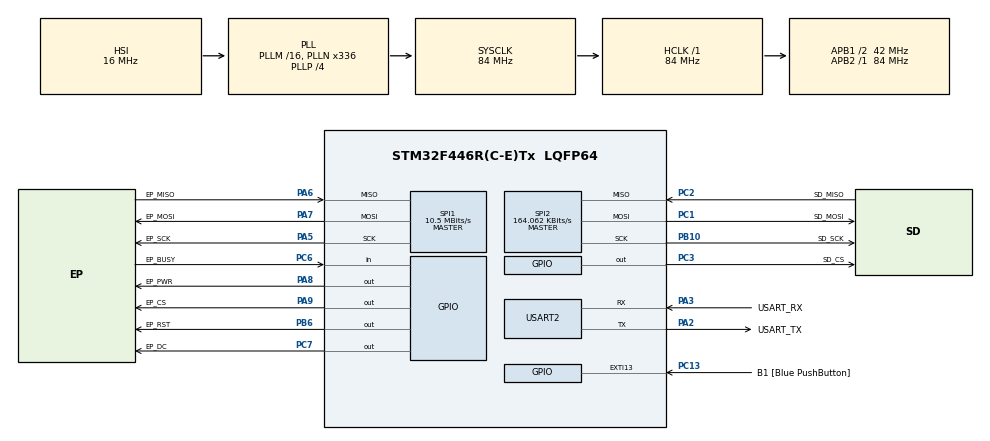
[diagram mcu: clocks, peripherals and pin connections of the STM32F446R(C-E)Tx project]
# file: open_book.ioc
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Dma.Request0=SPI2_RX
Dma.Request1=SPI2_TX
Dma.SPI2_RX.0.Direction=DMA_PERIPH_TO_MEMORY
Dma.SPI2_RX.0.FIFOMode=DMA_FIFOMODE_DISABLE
Dma.SPI2_RX.0.Instance=DMA1_Stream3
Dma.SPI2_RX.0.MemDataAlignment=DMA_MDATAALIGN_BYTE
Dma.SPI2_RX.0.MemInc=DMA_MINC_ENABLE
Dma.SPI2_RX.0.Mode=DMA_NORMAL
Dma.SPI2_RX.0.PeriphDataAlignment=DMA_PDATAALIGN_BYTE
Dma.SPI2_RX.0.PeriphInc=DMA_PINC_DISABLE
Dma.SPI2_RX.0.Priority=DMA_PRIORITY_LOW
Dma.SPI2_TX.1.Direction=DMA_MEMORY_TO_PERIPH
Dma.SPI2_TX.1.FIFOMode=DMA_FIFOMODE_DISABLE
Dma.SPI2_TX.1.Instance=DMA1_Stream4
Dma.SPI2_TX.1.MemDataAlignment=DMA_MDATAALIGN_BYTE
Dma.SPI2_TX.1.MemInc=DMA_MINC_ENABLE
Dma.SPI2_TX.1.Mode=DMA_NORMAL
Dma.SPI2_TX.1.PeriphDataAlignment=DMA_PDATAALIGN_BYTE
Dma.SPI2_TX.1.PeriphInc=DMA_PINC_DISABLE
Dma.SPI2_TX.1.Priority=DMA_PRIORITY_LOW
FATFS._USE_LABEL=1
FATFS._USE_LFN=3
Mcu.Family=STM32F4
Mcu.Name=STM32F446R(C-E)Tx
Mcu.Package=LQFP64
NVIC.DMA1_Stream3_IRQn=true\:0\:0\:false\:false\:true\:false\:true\:true
NVIC.DMA1_Stream4_IRQn=true\:0\:0\:false\:false\:true\:false\:true\:true
NVIC.PriorityGroup=NVIC_PRIORITYGROUP_0
PA13.GPIO_Label=TMS
PA13.Mode=Serial_Wire
PA13.Signal=SYS_JTMS-SWDIO
PA14.GPIO_Label=TCK
PA14.Mode=Serial_Wire
PA14.Signal=SYS_JTCK-SWCLK
PA2.GPIO_Label=USART_TX
PA2.Mode=Asynchronous
PA2.Signal=USART2_TX
PA3.GPIO_Label=USART_RX
PA3.Mode=Asynchronous
PA3.Signal=USART2_RX
PA5.GPIO_Label=EP_SCK
PA5.Mode=Full_Duplex_Master
PA5.Signal=SPI1_SCK
PA6.GPIO_Label=EP_MISO
PA6.Mode=Full_Duplex_Master
PA6.Signal=SPI1_MISO
PA7.GPIO_Label=EP_MOSI
PA7.Mode=Full_Duplex_Master
PA7.Signal=SPI1_MOSI
PA8.GPIO_Label=EP_PWR
PA8.Signal=GPIO_Output
PA9.GPIO_Label=EP_CS
PA9.GPIO_Speed=GPIO_SPEED_FREQ_HIGH
PA9.PinState=GPIO_PIN_SET
PA9.Signal=GPIO_Output
PB10.GPIO_Label=SD_SCK
PB10.Mode=Full_Duplex_Master
PB10.Signal=SPI2_SCK
PB3.GPIO_Label=SWO
PB3.Signal=SYS_JTDO-SWO
PB6.GPIO_Label=EP_RST
PB6.Signal=GPIO_Output
PC1.GPIO_Label=SD_MOSI
PC1.Mode=Full_Duplex_Master
PC1.Signal=SPI2_MOSI
PC13.GPIO_Label=B1 [Blue PushButton]
PC13.GPIO_ModeDefaultEXTI=GPIO_MODE_IT_FALLING
PC13.Signal=GPXTI13
PC14-OSC32_IN.Mode=LSE-External-Oscillator
PC14-OSC32_IN.Signal=RCC_OSC32_IN
PC15-OSC32_OUT.Mode=LSE-External-Oscillator
PC15-OSC32_OUT.Signal=RCC_OSC32_OUT
PC2.GPIO_Label=SD_MISO
PC2.Mode=Full_Duplex_Master
PC2.Signal=SPI2_MISO
PC3.GPIO_Label=SD_CS
PC3.GPIO_Speed=GPIO_SPEED_FREQ_HIGH
PC3.PinState=GPIO_PIN_SET
PC3.Signal=GPIO_Output
PC6.GPIO_Label=EP_BUSY
PC6.Signal=GPIO_Input
PC7.GPIO_Label=EP_DC
PC7.Signal=GPIO_Output
PH0-OSC_IN.Mode=HSE-External-Oscillator
PH0-OSC_IN.Signal=RCC_OSC_IN
PH1-OSC_OUT.Mode=HSE-External-Oscillator
PH1-OSC_OUT.Signal=RCC_OSC_OUT
ProjectManager.HeapSize=0x200
ProjectManager.StackSize=0x400
ProjectManager.TargetToolchain=CMake
RCC.48MHZClocksFreq_Value=84000000
RCC.AHBFreq_Value=84000000
RCC.APB1CLKDivider=RCC_HCLK_DIV2
RCC.APB1Freq_Value=42000000
RCC.APB1TimFreq_Value=84000000
RCC.APB2Freq_Value=84000000
RCC.APB2TimFreq_Value=84000000
RCC.CortexFreq_Value=84000000
RCC.FLatency-AdvancedSettings=FLASH_LATENCY_2
RCC.HCLKFreq_Value=84000000
RCC.HSE_VALUE=8000000
RCC.HSI_VALUE=16000000
RCC.PLLN=336
RCC.PLLP=RCC_PLLP_DIV4
RCC.SYSCLKFreq_VALUE=84000000
RCC.SYSCLKSource=RCC_SYSCLKSOURCE_PLLCLK
RCC.USBFreq_Value=168000000
RCC.VCOOutputFreq_Value=336000000
SPI1.BaudRatePrescaler=SPI_BAUDRATEPRESCALER_8
SPI1.CalculateBaudRate=10.5 MBits/s
SPI1.Direction=SPI_DIRECTION_2LINES
SPI1.Mode=SPI_MODE_MASTER
SPI1.VirtualType=VM_MASTER
SPI2.BaudRatePrescaler=SPI_BAUDRATEPRESCALER_256
SPI2.CalculateBaudRate=164.062 KBits/s
SPI2.Direction=SPI_DIRECTION_2LINES
SPI2.Mode=SPI_MODE_MASTER
SPI2.VirtualType=VM_MASTER
USART2.VirtualMode=VM_ASYNC
VP_FATFS_VS_Generic.Mode=User_defined
board=NUCLEO-F446RE

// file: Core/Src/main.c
/* USER CODE BEGIN Header */
/**
  ******************************************************************************
  * @file           : main.c
  * @brief          : Main program body
  ******************************************************************************
  * @attention
  *
  * Copyright (c) 2026 STMicroelectronics.
  * All rights reserved.
  *
  * This software is licensed under terms that can be found in the LICENSE file
  * in the root directory of this software component.
  * If no LICENSE file comes with this software, it is provided AS-IS.
  *
  ******************************************************************************
  */
/* USER CODE END Header */
#include "main.h"
#include "fatfs.h"

/* USER CODE BEGIN Includes */
#include <stdio.h>
#include <string.h>         /* memcpy                                     */
#include "sd_functions.h"   /* SD mount + FatFs helpers (SPI2)            */
#include "erb_format.h"     /* .erb container reader/decoder              */
#include "EPD_7in5_V2.h"    /* Waveshare 7.5" V2 e-paper driver (SPI1)    */
/* USER CODE END Includes */

/* USER CODE BEGIN PD */
#define OB_NUM_PAGES   10u     /* cycle the first 10 pages of the book        */
#define OB_PAGE_MS     3000u   /* dwell 3 s on each page                       */
#define OB_FULL_EVERY  10u      /* every Nth page is a full 4-gray (flashing)   */
                               /* refresh; the rest are flash-free 1bpp partial*/
/* USER CODE END PD */

SPI_HandleTypeDef hspi1;
SPI_HandleTypeDef hspi2;
DMA_HandleTypeDef hdma_spi2_rx;
DMA_HandleTypeDef hdma_spi2_tx;

UART_HandleTypeDef huart2;

/* USER CODE BEGIN PV */
/* The book is 1bpp, panel-native 800x480: 800 * 480 / 8 = 48000 bytes/page.
 * Pages are stored PRE-ROTATED (panel_rotation = 0) and RAW (no RLE), so each
 * page f_reads straight in with no rotate and no decompression scratch.
 *
 * Flash-free partial refresh is a differential, so it needs both the new frame
 * and the frame currently on the panel. One 96 KB buffer (fits the F446RE's
 * 128 KB SRAM with room to spare) holds both as two 48 KB 1bpp half-frames:
 *   erb_new = erb_fb           -- the page being shown now
 *   erb_old = erb_fb + 48000   -- the page that was shown last (panel state)
 * Kept off the ~1 KB stack as a static; no heap. */
static uint8_t erb_fb[96000];
#define erb_new  (erb_fb)            /* current frame, 1bpp 48000 B   */
#define erb_old  (erb_fb + 48000)    /* previous frame, 1bpp 48000 B  */
/* USER CODE END PV */

void SystemClock_Config(void);
static void MX_GPIO_Init(void);
static void MX_DMA_Init(void);
static void MX_SPI1_Init(void);
static void MX_SPI2_Init(void);
static void MX_USART2_UART_Init(void);

int main(void)
{

  /* MCU Configuration--------------------------------------------------------*/

  /* Reset of all peripherals, Initializes the Flash interface and the Systick. */
  HAL_Init();

  /* Configure the system clock */
  SystemClock_Config();

  /* Initialize all configured peripherals */
  MX_GPIO_Init();
  MX_DMA_Init();
  MX_SPI1_Init();
  MX_SPI2_Init();
  MX_USART2_UART_Init();
  /* USER CODE BEGIN 2 */
  /* --- open_book: cycle the first 10 pages of ORV, 1bpp partial refresh -----
   * Page turns are flash-free 1bpp PARTIAL (differential) refreshes. Because
   * many consecutive partials slowly accumulate ghosting on e-paper, every
   * OB_FULL_EVERY-th page (and the first) is a FULL refresh: it flashes once
   * but wipes the panel clean and re-establishes the differential baseline.
   * UART prints which mode each page used so behaviour is easy to follow. */
  printf("\r\n=== open_book: pages 0..9 of ORV (1bpp partial) ===\r\n");

  /* Kept open for the whole run -- mounted/opened once, rendered every cycle. */
  static erb_file_t book;
  uint8_t sd_ok = 0;

  if (sd_mount() != FR_OK)
  {
    printf("SD mount FAILED -- check card insertion, wiring, and power.\r\n");
  }
  else if (erb_open(&book, "ORV.erb") != 0)
  {
    printf("erb_open(ORV.erb) failed -- copy ORV.erb to the SD root.\r\n");
    sd_unmount();
  }
  else
  {
    erb_print_header(&book);
    sd_ok = 1;
  }

  if (sd_ok)
  {
    /* Power up the panel. The per-page loop loads the right waveform (full or
     * partial) the first time it needs each mode; both Init_* calls wait on the
     * BUSY line, so a miswired panel hangs there (the banner above still prints,
     * confirming the MCU is alive). */
    printf("Power on + module init...\r\n");
    DEV_Module_Init();
  }
  /* Tracks which waveform is currently loaded so we only re-Init on a mode
   * change. 0 = none yet, 1 = full, 2 = partial. */
  uint8_t panel_mode = 0;
  /* USER CODE END 2 */

  /* Infinite loop */
  while (1)
  {

    /* USER CODE BEGIN 3 */
    if (sd_ok)
    {
      /* --- 10 page turns, 3 s apart, partial with periodic full clear -- */
      for (uint32_t n = 0; n < OB_NUM_PAGES; n++)
      {
        /* Read the 1bpp page (48000 B) straight into erb_new. Pre-rotated +
         * raw, so no rotate and no RLE scratch. */
        if (erb_render_page_n(&book, n, erb_new, NULL, 0) != 0)
        {
          printf("page %lu decode failed -- skipping\r\n", (unsigned long)n);
          continue;
        }

        /* The first page must be a full refresh (it establishes the baseline
         * that later partial turns diff against); after that, every
         * OB_FULL_EVERY-th page is full and the rest are flash-free partial. */
        uint8_t full = (panel_mode == 0) || (n % OB_FULL_EVERY == 0);

        if (full)
        {
          /* Save the clean image as the baseline BEFORE EPD_..._Display(),
           * which inverts erb_new in place while filling the panel RAM. */
          memcpy(erb_old, erb_new, 48000);
          if (panel_mode != 1) { EPD_7IN5_V2_Init(); panel_mode = 1; }
          printf("FULL refresh -- page %lu\r\n", (unsigned long)n);
          EPD_7IN5_V2_Display(erb_new);   /* note: trashes erb_new */
        }
        else
        {
          if (panel_mode != 2) { EPD_7IN5_V2_Init_Part(); panel_mode = 2; }
          printf("partial refresh -- page %lu\r\n", (unsigned long)n);
          EPD_7IN5_V2_Display_Part_BW(erb_old, erb_new);
          memcpy(erb_old, erb_new, 48000);   /* new frame becomes the old one */
        }
        HAL_Delay(OB_PAGE_MS);
      }
    }
  }
  /* USER CODE END 3 */
}

void SystemClock_Config(void)
{
  RCC_OscInitTypeDef RCC_OscInitStruct = {0};
  RCC_ClkInitTypeDef RCC_ClkInitStruct = {0};

  /** Configure the main internal regulator output voltage
  */
  __HAL_RCC_PWR_CLK_ENABLE();
  __HAL_PWR_VOLTAGESCALING_CONFIG(PWR_REGULATOR_VOLTAGE_SCALE3);

  /** Initializes the RCC Oscillators according to the specified parameters
  * in the RCC_OscInitTypeDef structure.
  */
  RCC_OscInitStruct.OscillatorType = RCC_OSCILLATORTYPE_HSI;
  RCC_OscInitStruct.HSIState = RCC_HSI_ON;
  RCC_OscInitStruct.HSICalibrationValue = RCC_HSICALIBRATION_DEFAULT;
  RCC_OscInitStruct.PLL.PLLState = RCC_PLL_ON;
  RCC_OscInitStruct.PLL.PLLSource = RCC_PLLSOURCE_HSI;
  RCC_OscInitStruct.PLL.PLLM = 16;
  RCC_OscInitStruct.PLL.PLLN = 336;
  RCC_OscInitStruct.PLL.PLLP = RCC_PLLP_DIV4;
  RCC_OscInitStruct.PLL.PLLQ = 2;
  RCC_OscInitStruct.PLL.PLLR = 2;
  if (HAL_RCC_OscConfig(&RCC_OscInitStruct) != HAL_OK)
  {
    Error_Handler();
  }

  /** Initializes the CPU, AHB and APB buses clocks
  */
  RCC_ClkInitStruct.ClockType = RCC_CLOCKTYPE_HCLK|RCC_CLOCKTYPE_SYSCLK
                              |RCC_CLOCKTYPE_PCLK1|RCC_CLOCKTYPE_PCLK2;
  RCC_ClkInitStruct.SYSCLKSource = RCC_SYSCLKSOURCE_PLLCLK;
  RCC_ClkInitStruct.AHBCLKDivider = RCC_SYSCLK_DIV1;
  RCC_ClkInitStruct.APB1CLKDivider = RCC_HCLK_DIV2;
  RCC_ClkInitStruct.APB2CLKDivider = RCC_HCLK_DIV1;

  if (HAL_RCC_ClockConfig(&RCC_ClkInitStruct, FLASH_LATENCY_2) != HAL_OK)
  {
    Error_Handler();
  }
}

static void MX_SPI1_Init(void)
{

  /* SPI1 parameter configuration*/
  hspi1.Instance = SPI1;
  hspi1.Init.Mode = SPI_MODE_MASTER;
  hspi1.Init.Direction = SPI_DIRECTION_2LINES;
  hspi1.Init.DataSize = SPI_DATASIZE_8BIT;
  hspi1.Init.CLKPolarity = SPI_POLARITY_LOW;
  hspi1.Init.CLKPhase = SPI_PHASE_1EDGE;
  hspi1.Init.NSS = SPI_NSS_SOFT;
  hspi1.Init.BaudRatePrescaler = SPI_BAUDRATEPRESCALER_8;
  hspi1.Init.FirstBit = SPI_FIRSTBIT_MSB;
  hspi1.Init.TIMode = SPI_TIMODE_DISABLE;
  hspi1.Init.CRCCalculation = SPI_CRCCALCULATION_DISABLE;
  hspi1.Init.CRCPolynomial = 10;
  if (HAL_SPI_Init(&hspi1) != HAL_OK)
  {
    Error_Handler();
  }

}

static void MX_SPI2_Init(void)
{

  /* SPI2 parameter configuration*/
  hspi2.Instance = SPI2;
  hspi2.Init.Mode = SPI_MODE_MASTER;
  hspi2.Init.Direction = SPI_DIRECTION_2LINES;
  hspi2.Init.DataSize = SPI_DATASIZE_8BIT;
  hspi2.Init.CLKPolarity = SPI_POLARITY_LOW;
  hspi2.Init.CLKPhase = SPI_PHASE_1EDGE;
  hspi2.Init.NSS = SPI_NSS_SOFT;
  hspi2.Init.BaudRatePrescaler = SPI_BAUDRATEPRESCALER_256;
  hspi2.Init.FirstBit = SPI_FIRSTBIT_MSB;
  hspi2.Init.TIMode = SPI_TIMODE_DISABLE;
  hspi2.Init.CRCCalculation = SPI_CRCCALCULATION_DISABLE;
  hspi2.Init.CRCPolynomial = 10;
  if (HAL_SPI_Init(&hspi2) != HAL_OK)
  {
    Error_Handler();
  }

}

static void MX_USART2_UART_Init(void)
{

  huart2.Instance = USART2;
  huart2.Init.BaudRate = 115200;
  huart2.Init.WordLength = UART_WORDLENGTH_8B;
  huart2.Init.StopBits = UART_STOPBITS_1;
  huart2.Init.Parity = UART_PARITY_NONE;
  huart2.Init.Mode = UART_MODE_TX_RX;
  huart2.Init.HwFlowCtl = UART_HWCONTROL_NONE;
  huart2.Init.OverSampling = UART_OVERSAMPLING_16;
  if (HAL_UART_Init(&huart2) != HAL_OK)
  {
    Error_Handler();
  }

}

static void MX_DMA_Init(void)
{

  /* DMA controller clock enable */
  __HAL_RCC_DMA1_CLK_ENABLE();

  /* DMA interrupt init */
  /* DMA1_Stream3_IRQn interrupt configuration */
  HAL_NVIC_SetPriority(DMA1_Stream3_IRQn, 0, 0);
  HAL_NVIC_EnableIRQ(DMA1_Stream3_IRQn);
  /* DMA1_Stream4_IRQn interrupt configuration */
  HAL_NVIC_SetPriority(DMA1_Stream4_IRQn, 0, 0);
  HAL_NVIC_EnableIRQ(DMA1_Stream4_IRQn);

}

static void MX_GPIO_Init(void)
{
  GPIO_InitTypeDef GPIO_InitStruct = {0};

  /* GPIO Ports Clock Enable */
  __HAL_RCC_GPIOC_CLK_ENABLE();
  __HAL_RCC_GPIOH_CLK_ENABLE();
  __HAL_RCC_GPIOA_CLK_ENABLE();
  __HAL_RCC_GPIOB_CLK_ENABLE();

  /*Configure GPIO pin Output Level */
  HAL_GPIO_WritePin(SD_CS_GPIO_Port, SD_CS_Pin, GPIO_PIN_SET);

  /*Configure GPIO pin Output Level */
  HAL_GPIO_WritePin(EP_DC_GPIO_Port, EP_DC_Pin, GPIO_PIN_RESET);

  /*Configure GPIO pin Output Level */
  HAL_GPIO_WritePin(EP_PWR_GPIO_Port, EP_PWR_Pin, GPIO_PIN_RESET);

  /*Configure GPIO pin Output Level */
  HAL_GPIO_WritePin(EP_CS_GPIO_Port, EP_CS_Pin, GPIO_PIN_SET);

  /*Configure GPIO pin Output Level */
  HAL_GPIO_WritePin(EP_RST_GPIO_Port, EP_RST_Pin, GPIO_PIN_RESET);

  /*Configure GPIO pin : B1_Pin */
  GPIO_InitStruct.Pin = B1_Pin;
  GPIO_InitStruct.Mode = GPIO_MODE_IT_FALLING;
  GPIO_InitStruct.Pull = GPIO_NOPULL;
  HAL_GPIO_Init(B1_GPIO_Port, &GPIO_InitStruct);

  /*Configure GPIO pin : SD_CS_Pin */
  GPIO_InitStruct.Pin = SD_CS_Pin;
  GPIO_InitStruct.Mode = GPIO_MODE_OUTPUT_PP;
  GPIO_InitStruct.Pull = GPIO_NOPULL;
  GPIO_InitStruct.Speed = GPIO_SPEED_FREQ_HIGH;
  HAL_GPIO_Init(SD_CS_GPIO_Port, &GPIO_InitStruct);

  /*Configure GPIO pin : EP_BUSY_Pin */
  GPIO_InitStruct.Pin = EP_BUSY_Pin;
  GPIO_InitStruct.Mode = GPIO_MODE_INPUT;
  GPIO_InitStruct.Pull = GPIO_NOPULL;
  HAL_GPIO_Init(EP_BUSY_GPIO_Port, &GPIO_InitStruct);

  /*Configure GPIO pin : EP_DC_Pin */
  GPIO_InitStruct.Pin = EP_DC_Pin;
  GPIO_InitStruct.Mode = GPIO_MODE_OUTPUT_PP;
  GPIO_InitStruct.Pull = GPIO_NOPULL;
  GPIO_InitStruct.Speed = GPIO_SPEED_FREQ_LOW;
  HAL_GPIO_Init(EP_DC_GPIO_Port, &GPIO_InitStruct);

  /*Configure GPIO pin : EP_PWR_Pin */
  GPIO_InitStruct.Pin = EP_PWR_Pin;
  GPIO_InitStruct.Mode = GPIO_MODE_OUTPUT_PP;
  GPIO_InitStruct.Pull = GPIO_NOPULL;
  GPIO_InitStruct.Speed = GPIO_SPEED_FREQ_LOW;
  HAL_GPIO_Init(EP_PWR_GPIO_Port, &GPIO_InitStruct);

  /*Configure GPIO pin : EP_CS_Pin */
  GPIO_InitStruct.Pin = EP_CS_Pin;
  GPIO_InitStruct.Mode = GPIO_MODE_OUTPUT_PP;
  GPIO_InitStruct.Pull = GPIO_NOPULL;
  GPIO_InitStruct.Speed = GPIO_SPEED_FREQ_HIGH;
  HAL_GPIO_Init(EP_CS_GPIO_Port, &GPIO_InitStruct);

  /*Configure GPIO pin : EP_RST_Pin */
  GPIO_InitStruct.Pin = EP_RST_Pin;
  GPIO_InitStruct.Mode = GPIO_MODE_OUTPUT_PP;
  GPIO_InitStruct.Pull = GPIO_NOPULL;
  GPIO_InitStruct.Speed = GPIO_SPEED_FREQ_LOW;
  HAL_GPIO_Init(EP_RST_GPIO_Port, &GPIO_InitStruct);

}

/* USER CODE BEGIN 4 */
/* Retarget printf() to USART2 so debug output shows on the ST-LINK virtual
 * COM port (115200 8N1) -- an MCU-alive signal independent of SD/EPD wiring. */
int __io_putchar(int ch)
{
  HAL_UART_Transmit(&huart2, (uint8_t *)&ch, 1, HAL_MAX_DELAY);
  return ch;
}
/* USER CODE END 4 */

void Error_Handler(void)
{
  __disable_irq();
  while (1)
  {
  }
}
